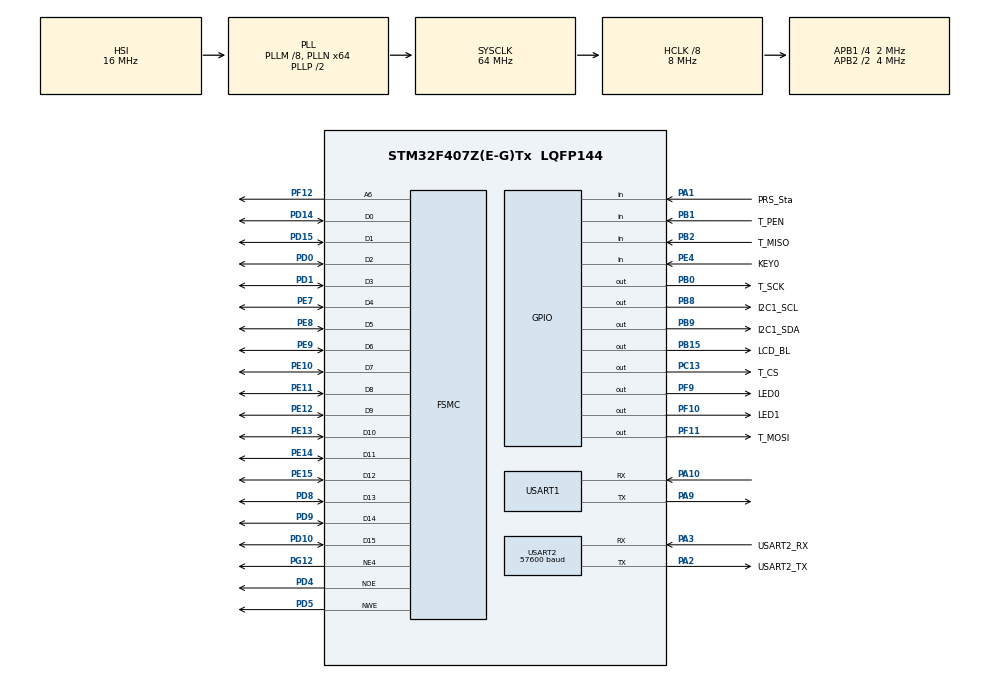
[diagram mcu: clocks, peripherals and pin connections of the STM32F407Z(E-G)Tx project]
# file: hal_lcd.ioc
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FSMC.BusTurnAroundDuration1=0
FSMC.DataSetupTime1=60
FSMC.ExtendedAddressSetupTime1=9
FSMC.ExtendedBusTurnAroundDuration1=0
FSMC.ExtendedDataSetupTime1=8
FSMC.ExtendedMode1=FSMC_EXTENDED_MODE_ENABLE
Mcu.Family=STM32F4
Mcu.Name=STM32F407Z(E-G)Tx
Mcu.Package=LQFP144
NVIC.PriorityGroup=NVIC_PRIORITYGROUP_4
NVIC.TIM6_DAC_IRQn=true\:1\:0\:true\:false\:true\:true\:true
NVIC.USART1_IRQn=true\:0\:0\:false\:false\:true\:true\:true
NVIC.USART2_IRQn=true\:0\:0\:false\:false\:true\:true\:true
PA0-WKUP.Mode=SYS_WakeUp0
PA0-WKUP.Signal=SYS_WKUP
PA1.GPIO_Label=PRS_Sta
PA1.GPIO_PuPd=GPIO_PULLDOWN
PA1.Signal=GPIO_Input
PA10.Mode=Asynchronous
PA10.Signal=USART1_RX
PA13.Mode=Serial_Wire
PA13.Signal=SYS_JTMS-SWDIO
PA14.Mode=Serial_Wire
PA14.Signal=SYS_JTCK-SWCLK
PA2.GPIO_Label=USART2_TX
PA2.Mode=Asynchronous
PA2.Signal=USART2_TX
PA3.GPIO_Label=USART2_RX
PA3.Mode=Asynchronous
PA3.Signal=USART2_RX
PA9.Mode=Asynchronous
PA9.Signal=USART1_TX
PB0.GPIO_Label=T_SCK
PB0.GPIO_Speed=GPIO_SPEED_FREQ_VERY_HIGH
PB0.Signal=GPIO_Output
PB1.GPIO_Label=T_PEN
PB1.GPIO_PuPd=GPIO_PULLUP
PB1.Signal=GPIO_Input
PB15.GPIO_Label=LCD_BL
PB15.GPIO_PuPd=GPIO_PULLUP
PB15.GPIO_Speed=GPIO_SPEED_FREQ_MEDIUM
PB15.PinState=GPIO_PIN_SET
PB15.Signal=GPIO_Output
PB2.GPIO_Label=T_MISO
PB2.GPIO_PuPd=GPIO_PULLUP
PB2.Signal=GPIO_Input
PB8.GPIO_Label=I2C1_SCL
PB8.GPIO_PuPd=GPIO_PULLUP
PB8.GPIO_Speed=GPIO_SPEED_FREQ_HIGH
PB8.Signal=GPIO_Output
PB9.GPIO_Label=I2C1_SDA
PB9.GPIO_PuPd=GPIO_PULLUP
PB9.GPIO_Speed=GPIO_SPEED_FREQ_HIGH
PB9.Signal=GPIO_Output
PC13-ANTI_TAMP.GPIO_Label=T_CS
PC13-ANTI_TAMP.PinState=GPIO_PIN_RESET
PC13-ANTI_TAMP.Signal=GPIO_Output
PC14-OSC32_IN.Mode=LSE-External-Oscillator
PC14-OSC32_IN.Signal=RCC_OSC32_IN
PC15-OSC32_OUT.Mode=LSE-External-Oscillator
PC15-OSC32_OUT.Signal=RCC_OSC32_OUT
PD0.Signal=FSMC_D2_DA2
PD1.Signal=FSMC_D3_DA3
PD10.Signal=FSMC_D15_DA15
PD14.Signal=FSMC_D0_DA0
PD15.Signal=FSMC_D1_DA1
PD4.Signal=FSMC_NOE
PD5.Signal=FSMC_NWE
PD8.Signal=FSMC_D13_DA13
PD9.Signal=FSMC_D14_DA14
PE10.Signal=FSMC_D7_DA7
PE11.Signal=FSMC_D8_DA8
PE12.Signal=FSMC_D9_DA9
PE13.Signal=FSMC_D10_DA10
PE14.Signal=FSMC_D11_DA11
PE15.Signal=FSMC_D12_DA12
PE4.GPIO_Label=KEY0
PE4.GPIO_PuPd=GPIO_PULLDOWN
PE4.Signal=GPIO_Input
PE7.Signal=FSMC_D4_DA4
PE8.Signal=FSMC_D5_DA5
PE9.Signal=FSMC_D6_DA6
PF10.GPIO_Label=LED1
PF10.PinState=GPIO_PIN_SET
PF10.Signal=GPIO_Output
PF11.GPIO_Label=T_MOSI
PF11.GPIO_Speed=GPIO_SPEED_FREQ_VERY_HIGH
PF11.Signal=GPIO_Output
PF12.Signal=FSMC_A6
PF9.GPIO_Label=LED0
PF9.PinState=GPIO_PIN_SET
PF9.Signal=GPIO_Output
PG12.Mode=NorPsramChipSelect4_1
PG12.Signal=FSMC_NE4
PH0-OSC_IN.Mode=HSE-External-Oscillator
PH0-OSC_IN.Signal=RCC_OSC_IN
PH1-OSC_OUT.Mode=HSE-External-Oscillator
PH1-OSC_OUT.Signal=RCC_OSC_OUT
ProjectManager.HeapSize=0x200
ProjectManager.StackSize=0x400
ProjectManager.TargetToolchain=MDK-ARM V5.27
RCC.48MHZClocksFreq_Value=32000000
RCC.AHBCLKDivider=RCC_SYSCLK_DIV8
RCC.AHBFreq_Value=8000000
RCC.APB1CLKDivider=RCC_HCLK_DIV4
RCC.APB1Freq_Value=2000000
RCC.APB1TimFreq_Value=4000000
RCC.APB2CLKDivider=RCC_HCLK_DIV2
RCC.APB2Freq_Value=4000000
RCC.APB2TimFreq_Value=8000000
RCC.CortexFreq_Value=8000000
RCC.HCLKFreq_Value=8000000
RCC.HSE_VALUE=25000000
RCC.HSI_VALUE=16000000
RCC.PLLM=8
RCC.PLLN=64
RCC.SYSCLKFreq_VALUE=64000000
RCC.SYSCLKSource=RCC_SYSCLKSOURCE_PLLCLK
RCC.VCOOutputFreq_Value=128000000
SH.FSMC_A6.0=FSMC_A6,A6_1
SH.FSMC_D0_DA0.0=FSMC_D0,16b-d1
SH.FSMC_D10_DA10.0=FSMC_D10,16b-d1
SH.FSMC_D11_DA11.0=FSMC_D11,16b-d1
SH.FSMC_D12_DA12.0=FSMC_D12,16b-d1
SH.FSMC_D13_DA13.0=FSMC_D13,16b-d1
SH.FSMC_D14_DA14.0=FSMC_D14,16b-d1
SH.FSMC_D15_DA15.0=FSMC_D15,16b-d1
SH.FSMC_D1_DA1.0=FSMC_D1,16b-d1
SH.FSMC_D2_DA2.0=FSMC_D2,16b-d1
SH.FSMC_D3_DA3.0=FSMC_D3,16b-d1
SH.FSMC_D4_DA4.0=FSMC_D4,16b-d1
SH.FSMC_D5_DA5.0=FSMC_D5,16b-d1
SH.FSMC_D6_DA6.0=FSMC_D6,16b-d1
SH.FSMC_D7_DA7.0=FSMC_D7,16b-d1
SH.FSMC_D8_DA8.0=FSMC_D8,16b-d1
SH.FSMC_D9_DA9.0=FSMC_D9,16b-d1
SH.FSMC_NOE.0=FSMC_NOE,Lcd1
SH.FSMC_NWE.0=FSMC_NWE,Lcd1
TIM2.Prescaler=4-1
TIM6.AutoReloadPreload=TIM_AUTORELOAD_PRELOAD_DISABLE
TIM6.Period=1000-1
TIM6.Prescaler=400-1
USART1.VirtualMode=VM_ASYNC
USART2.BaudRate=57600
USART2.VirtualMode=VM_ASYNC
VP_TIM2_VS_ClockSourceINT.Mode=Internal
VP_TIM6_VS_ClockSourceINT.Mode=Enable_Timer
board=custom

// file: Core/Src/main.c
/* USER CODE BEGIN Header */
/**
  ******************************************************************************
  * @file           : main.c
  * @brief          : Main program body
  ******************************************************************************
  * @attention
  *
  * <h2><center>&copy; Copyright (c) 2022 STMicroelectronics.
  * All rights reserved.</center></h2>
  *
  * This software component is licensed by ST under BSD 3-Clause license,
  * the "License"; You may not use this file except in compliance with the
  * License. You may obtain a copy of the License at:
  *                        opensource.org/licenses/BSD-3-Clause
  *
  ******************************************************************************
  */
/* USER CODE END Header */
#include "main.h"
#include "tim.h"
#include "usart.h"
#include "gpio.h"
#include "fsmc.h"

/* USER CODE BEGIN Includes */
#include "lcd.h"
#include "touch.h"
#include <stdio.h>
#include <string.h>
#include "as608.h"
#include "bsp_wakeup.h"

/* USER CODE END Includes */

void SystemClock_Config(void);

/* USER CODE BEGIN 0 */
///----------------------------------------------------------------------------------------///
//重定义fputc函数
#if 1
#pragma import(__use_no_semihosting)

//标准库需要的支持函数
struct __FILE
{
	int handle;
};

FILE __stdout;
//定义_sys_exit()以避免使用半主机模式
void _sys_exit(int x)
{
	x = x;
}
//重定义fputc函数
int fputc(int ch, FILE *f)
{
	while((USART1->SR&0X40)==0);//循环发送,直到发送完毕
	USART1->DR = (uint8_t) ch;
	return ch;
}
#endif
///-----------------------------------------------------------------------------------------///

SysPara AS608Para;//指纹模块AS608参数
uint16_t ValidN;//模块内有效指纹个数
//uint8_t** kbd_tbl;

uint8_t res;
uint8_t states = 0;
uint8_t flag_ID = 0;		//0->密码没有输入成功过， 1->成功输入了一次密码
uint16_t times=0;				//清除flag_ID
uint32_t password=0;
uint32_t tempassword=0;
uint32_t* newpassword;

uint16_t Add_FR(uint16_t ID);	//录指纹
uint16_t press_FR(void);		//刷指纹
void Del_FR(void);	//删除指纹
void ShowErrMessage(uint8_t ensure);//显示确认码错误信息
uint32_t GET_NUM(void);//获取数值
void LCD_Screen_Toggle(void);//LCD页面切换
uint8_t passcheck(void);//检查密码

/* USER CODE END 0 */

int main(void)
{
  /* USER CODE BEGIN 1 */
	uint8_t ensure;
	newpassword = (uint32_t*)0x10002000;
	//*newpassword = 123456;

  /* USER CODE END 1 */

  /* MCU Configuration--------------------------------------------------------*/

  /* Reset of all peripherals, Initializes the Flash interface and the Systick. */
  HAL_Init();

  /* Configure the system clock */
  SystemClock_Config();

  /* Initialize all configured peripherals */
  MX_GPIO_Init();
  MX_FSMC_Init();
  MX_USART1_UART_Init();
  MX_USART2_UART_Init();
  MX_TIM6_Init();
  MX_TIM2_Init();
  /* USER CODE BEGIN 2 */
  printf("Try connecting the module...\n");
  LEDR(0);						//初始化LED
  LEDG(0);

  LCD_Init();					//LCD初始化
  tp_dev.init();				//触摸屏初始化

  //LCD_ShowString(30,60,210,24,24,(uint8_t*)"Explorer STM32F4");
  LCD_keyboard_display();		/*加载指纹识别实验界面*/

  HAL_UART_Transmit(&huart1, (uint8_t *)"Hello LiYi\n", 11, HAL_MAX_DELAY);

  USART2_RX_STA=0;		//清零
  HAL_UART_Receive_IT(&huart2, &res, 1);

  while(PS_HandShake(&AS608Addr))//与AS608模块握手
  {
	  delay_ms(400);
	  LCD_Fill(0,0,lcddev.width,lcddev.height-4*high-2,WHITE);
	  LCD_ShowString(20,40,200,16 ,16, (uint8_t *)"Module not detected!!!");
	  printf("Module not detected!!!\n");
	  delay_ms(800);
	  LCD_Fill(0,0,lcddev.width,lcddev.height-4*high-2,WHITE);
	  LCD_ShowString(20,40,200,32 ,16, (uint8_t *)"Try connecting the module...");
		printf("Try connecting the module...\n");
  }

  LCD_Fill(0,0,lcddev.width,lcddev.height-4*high-2,WHITE);
	LCD_ShowString(20,40,200,32 ,16, (uint8_t *)"Communication is successful!!!");
	printf("Communication is successful!!!\n");
	delay_ms(800);
	printf("波特率:%d   地址:%x",57600, AS608Addr);
	ensure = PS_ValidTempleteNum(&ValidN);//读库指纹个数
	if(ensure!=0x00)
		ShowErrMessage(ensure);			//显示确认码错误信息
	ensure = PS_ReadSysPara(&AS608Para);  //读参数
	delay_ms(800);
	LCD_Fill(0,0,lcddev.width,lcddev.height-4*high-2,WHITE);
	if(ensure==0x00)
	{
		printf("库容量:%d     对比等级: %d\n",AS608Para.PS_max-ValidN,AS608Para.PS_level);
		LCD_ShowString(20,40,200,16 ,16, (uint8_t *)"Library capacity:");
		LCD_ShowNum(160,40,AS608Para.PS_max-ValidN,3,16);
		LCD_ShowString(20,60,200,16 ,16, (uint8_t *)"Comparison level:");
		LCD_ShowNum(160,60,AS608Para.PS_level,3,16);
		LCD_ShowString(20,100,200,48,16, (uint8_t *)"Please click anywhere on the screen to enter the  user interface");
	}
	else
		ShowErrMessage(ensure);

	delay_ms(800);
	times = 0;

  /* USER CODE END 2 */

  /* Infinite loop */
  /* USER CODE BEGIN WHILE */
  while (1)
  {
	  if(PS_Sta)
	  {
		  if(press_FR() != 0xffff)//刷指纹
		  {
			  LCD_ShowString(20,60,200,16 ,16, (uint8_t *)"password is correct");
			  LCD_ShowString(20,80,200,16 ,16, (uint8_t *)"lock is open");
			  flag_ID=1;
		//	  delay_ms(1500);
		  }
	  }

	  if(times>=2000)
	  {
		  LEDR(0);
		  Sys_Enter_Stop();
		  times = 0;
		  flag_ID = 0;
	  }
	  else if(times>=1700)
	  {
		  if(times%50==0)
		  HAL_GPIO_TogglePin(LED0_GPIO_Port, LED0_Pin);
	  }

	  times++;

	  LCD_Screen_Toggle();
	  HAL_Delay(10);

    /* USER CODE END WHILE */

  }
}

void SystemClock_Config(void)
{
  RCC_OscInitTypeDef RCC_OscInitStruct = {0};
  RCC_ClkInitTypeDef RCC_ClkInitStruct = {0};

  /** Configure the main internal regulator output voltage
  */
  __HAL_RCC_PWR_CLK_ENABLE();
  __HAL_PWR_VOLTAGESCALING_CONFIG(PWR_REGULATOR_VOLTAGE_SCALE1);
  /** Initializes the RCC Oscillators according to the specified parameters
  * in the RCC_OscInitTypeDef structure.
  */
  RCC_OscInitStruct.OscillatorType = RCC_OSCILLATORTYPE_HSI;
  RCC_OscInitStruct.HSIState = RCC_HSI_ON;
  RCC_OscInitStruct.HSICalibrationValue = RCC_HSICALIBRATION_DEFAULT;
  RCC_OscInitStruct.PLL.PLLState = RCC_PLL_ON;
  RCC_OscInitStruct.PLL.PLLSource = RCC_PLLSOURCE_HSI;
  RCC_OscInitStruct.PLL.PLLM = 8;
  RCC_OscInitStruct.PLL.PLLN = 64;
  RCC_OscInitStruct.PLL.PLLP = RCC_PLLP_DIV2;
  RCC_OscInitStruct.PLL.PLLQ = 4;
  if (HAL_RCC_OscConfig(&RCC_OscInitStruct) != HAL_OK)
  {
    Error_Handler();
  }
  /** Initializes the CPU, AHB and APB buses clocks
  */
  RCC_ClkInitStruct.ClockType = RCC_CLOCKTYPE_HCLK|RCC_CLOCKTYPE_SYSCLK
                              |RCC_CLOCKTYPE_PCLK1|RCC_CLOCKTYPE_PCLK2;
  RCC_ClkInitStruct.SYSCLKSource = RCC_SYSCLKSOURCE_PLLCLK;
  RCC_ClkInitStruct.AHBCLKDivider = RCC_SYSCLK_DIV8;
  RCC_ClkInitStruct.APB1CLKDivider = RCC_HCLK_DIV4;
  RCC_ClkInitStruct.APB2CLKDivider = RCC_HCLK_DIV2;

  if (HAL_RCC_ClockConfig(&RCC_ClkInitStruct, FLASH_LATENCY_0) != HAL_OK)
  {
    Error_Handler();
  }
}

/* USER CODE BEGIN 4 */

void LCD_Screen_Toggle(void)
{
	uint8_t key = 0xff;
	uint16_t ID;
	static uint8_t change_times = 0;

	key = keyboard_scan();
	if(key != 0xff)
	{
		times = times/2;

		if(flag_ID==1)
		{
			states =1;
		}
		else
			states = 0;
		if(states == 1)
		{
			if(key == '1')
				states = 2;
			else if(key == '2')
				states = 3;
			else if(key == '3')
				states = 4;
			else if(key == '4')
				states = 5;
			else if(key == 'b')
			{
				if(flag_ID==0)
					states = 0;
				else
					states =1;
			}
		}
		switch(states)
		{
			case 0:
				LCD_Fill(0,0,lcddev.width,lcddev.height-4*high-2,WHITE);
				LCD_ShowString(75,10,200,24 ,24, (uint8_t *)"Welcome");
				LCD_ShowString(10,40,220,50 ,16, (uint8_t *)"Please press the fingerprint firmly on the window");
				LCD_ShowString(10,80,220,50 ,16, (uint8_t *)"or enter password to unlock");
				delay_ms(2000);
				if(PS_Sta)	 //检测PS_Sta状态，如果有手指按下
				{
					if(press_FR() != 0xffff)//刷指纹
					{
						flag_ID=1;
						states = 1;
					}
					else
					{
						flag_ID=0;
						break;
					}
				}
				else
				{
					password=GET_NUM();
					if(password != 0xffffffff)
					{
						if(password == *newpassword)
						{
							LCD_ShowString(20,60,200,16 ,16, (uint8_t *)"password is correct");
							LCD_ShowString(20,80,200,16 ,16, (uint8_t *)"lock is open");
							flag_ID=1;
							states = 1;
						}
						else
						{
							LCD_ShowString(20,60,220,16 ,16, (uint8_t *)"password is error");
							LCD_ShowString(20,80,220,16 ,16, (uint8_t *)"please try again");
							LCD_ShowString(20,120,220,16 ,16, (uint8_t *)"press any key to continue");
							flag_ID=0;
							break;
						}
					}
					else
					{
						LCD_ShowString(20,120,220,16 ,16, (uint8_t *)"press any key to continue");
						break;
					}
				}

			case 1:					//Menu
				LCD_Fill(0,0,lcddev.width,lcddev.height-4*high-2,WHITE);
				LCD_ShowString(40,20,200,16 ,16, (uint8_t *)"1.Add fingerprint");
				LCD_ShowString(40,40,200,16 ,16, (uint8_t *)"2.Del fingerprints");
				LCD_ShowString(40,60,200,16 ,16, (uint8_t *)"3.Search fingerprints");
				LCD_ShowString(40,80,200,16 ,16, (uint8_t *)"4.change the password");
				LCD_ShowString(10,125,220,50 ,16, (uint8_t *)"Please press the number key to get the corresponding function");
				break;
			case 2:					//Add fingerprint
				if(passcheck()==0)
				{
					LCD_ShowString(10,125,220,50 ,16, (uint8_t *)"Please press the 'Back' key to return last step");
					break;
				}
			a:	LCD_Fill(0,0,lcddev.width,lcddev.height-4*high-2,WHITE);
			    LCD_ShowString(20,50,200,32 ,16, (uint8_t *)"Please enter your fingerprint ID");
				LCD_ShowString(30,120,220, 32,16, (uint8_t *)"0 <= ID < 300");
				ID = GET_NUM();
				if(ID >= 300)
				{
					LCD_Fill(0,0,lcddev.width,lcddev.height-4*high-2,WHITE);
					LCD_ShowString(20,120,200,16 ,16, (uint8_t *)"invalid ID");
					delay_ms(1000);
					goto a;
				}
				else
				{
					LCD_Fill(0,0,lcddev.width,lcddev.height-4*high-2,WHITE);
					LCD_ShowString(20,60,200,16 ,16, (uint8_t *)"ID successfully");
					LCD_ShowString(20,90,200,16 ,16, (uint8_t *)"ID = ");
					LCD_ShowNum(100,120,ID,16,16);
					//LCD_ShowString(10,120,200,16 ,16, (uint8_t *)"Please press the fingerprint firmly on the window");
					if(Add_FR(ID)!=0xffff)
					{
						LCD_Fill(0,0,lcddev.width,lcddev.height-4*high-2,WHITE);
						LCD_ShowString(20,40,200,48,24, (uint8_t *)"Please press the back button");
					}
				}
				break;
			case 3:					//Delect fingerprint
				if(passcheck())
				{
					LCD_Fill(0,0,lcddev.width,lcddev.height-4*high-2,WHITE);
					Del_FR();
				}
				break;

			case 4:					//Search fingerprint
				LCD_Fill(0,0,lcddev.width,lcddev.height-4*high-2,WHITE);
				press_FR();
				LCD_ShowString(20,40,200,48,24, (uint8_t *)"Please press the back button");
				break;
			case 5:					//更改密码

				LCD_Fill(0,0,lcddev.width,lcddev.height-4*high-2,WHITE);
				LCD_ShowString(10,60,220,32 ,16, (uint8_t *)"please input your old password");
				delay_ms(1000);
				if(passcheck())
				{
					LCD_ShowString(10,60,220,32 ,16, (uint8_t *)"please input your new password");
					password = GET_NUM();
					if(*newpassword != password)
					{
						tempassword = password;
						LCD_Fill(0,0,lcddev.width,lcddev.height-4*high-2,WHITE);
						LCD_ShowString(10,60,220,32 ,16, (uint8_t *)"please confirm your new password");
						password = GET_NUM();
						if(tempassword == password)
						{
							LCD_ShowString(10,100,220,32 ,16, (uint8_t *)"password changed successfully");
							delay_ms(1000);
							*newpassword = tempassword;
						}
						else
						{
							LCD_ShowString(10,100,220,32 ,16, (uint8_t *)"The passwords entered twice do not match");
							delay_ms(1000);
						}
					}
					else
					{
						LCD_ShowString(10,100,220,32 ,16, (uint8_t *)"New password is same as the old password");
						delay_ms(1000);
					}
				}

				LCD_Fill(0,0,lcddev.width,lcddev.height-4*high-2,WHITE);
				LCD_ShowString(20,40,200,48,24, (uint8_t *)"Please press the back button");
				break;
		}
	}
}

//检查密码 0：密码错误    1：正确
uint8_t passcheck(void)
{
	LCD_Fill(0,0,lcddev.width,lcddev.height-4*high-2,WHITE);
	LCD_ShowString(10,60,220,32 ,16, (uint8_t *)"please input your password");
	password = GET_NUM();
	if(*newpassword != password)
	{
		LCD_Fill(0,0,lcddev.width,lcddev.height-4*high-2,WHITE);
		LCD_ShowString(10,60,220,32 ,16, (uint8_t *)"password is error");
		delay_ms(1000);
		return 0;
	}
	else
		return 1;
}

//获取键盘数值  长时间没有键按下自动退出，返回0xffffffff
uint32_t GET_NUM(void)
{
	int x=0;
	uint8_t value;
	uint8_t pstr[9]={"\0"};
	uint8_t newpstr[9]="123456";
	//uint8_t blank[9]={"        "};
	uint8_t p=0;
	uint32_t num = 0xffffffff;

	times = 0;

	LCD_Fill(1*wide,320-5*high, 1*wide+12*8-1, 320-5*high+23, CYAN);

	while(1)
	{
	  value = keyboard_scan();
	  if(value != 0xff)
	  {
		  x = x/2;
		  if(value >= '0' && value <= '9')
		  {
			  pstr[p++] = value;
			  if(p>=9)
			  {
				  p = p%9;
				  pstr[0]='\0';
			  }
			  else
				  pstr[p]='\0';
		  }
		  else if(value == '<' && p != 0)
		  {
			  p--;
			  pstr[p] = '\0';
		  }
		  else if(value == 'e' && pstr[0]!='\0')
		  {
			  strcpy(newpstr, pstr);
			  printf("newpass :%s\n", newpstr);
			  num = (uint32_t)atoi(newpstr);
			  LCD_ShowString(1*wide+12*8-1,320-5*high, 210, 24, 24,(uint8_t*)"Entered");
			  delay_ms(1000);
			  break;
		  }

		  LCD_Fill(1*wide,320-5*high, 1*wide+12*8-1, 320-5*high+23, CYAN);
		  LCD_ShowString(1*wide,320-5*high, 210, 24, 24, pstr);
		  printf("%c\n", value);
		  printf("string :%s\n", pstr);
	  }
	  x=x+1;
	  if(x>=800000)
		  break;
	}
	LCD_Fill(0,0, lcddev.width, 320-4*high-2, WHITE);
	  return num;
}

//显示确认码错误信息
void ShowErrMessage(uint8_t ensure)
{
	LCD_Fill(0,120,lcddev.width,160,WHITE);
	LCD_ShowString(60,12,200,100 ,24, (uint8_t *)"Error:");
	LCD_ShowNum(135, 12, ensure, 2, 24);
	POINT_COLOR = RED;
	LCD_ShowString(10,60,220,70,16, (uint8_t*)EnsureMessage(ensure));
	POINT_COLOR = BLACK;
	delay_ms(2000);
	LCD_Fill(0,120,lcddev.width,160,WHITE);
	//LCD_ShowString(20,40,200,48,24, (uint8_t *)"Please press the back button");
	printf("%x:%s\n",ensure, EnsureMessage(ensure));
	//Show_Str_Mid(0,120,(uint8_t*)EnsureMessage(ensure),16,240);
}
//录指纹  成功：返回ID   失败：返回0xffff
uint16_t Add_FR(uint16_t ID)
{
	uint8_t i = 0,ensure = 0,processnum=0;

	while(1)
	{
		switch(processnum)
		{
			case 0:
				i++;
				LCD_Fill(0,0,lcddev.width,lcddev.height-4*high-2,WHITE);
				LCD_ShowString(20,40,200,16 ,16, (uint8_t *)"Please press finger");
				ensure=PS_GetImage();
				if(ensure==0x00)
				{
					//BEEP=1;
					LEDG(1);
					ensure=PS_GenChar(CharBuffer1);//生成特征
					LEDG(0);
					//BEEP=0;
					if(ensure==0x00)
					{
						LCD_Fill(0,0,lcddev.width,lcddev.height-4*high-2,WHITE);
						LCD_ShowString(20,40,200,16 ,16, (uint8_t *)"Fingerprint is OK");
						//Show_Str_Mid(0,120,"指纹正常",16,240);
						i=0;
						processnum=1;//跳到第二步
					}
					else
						ShowErrMessage(ensure);
				}
				else
					ShowErrMessage(ensure);
				break;

			case 1:
				i++;
				LCD_Fill(0,0,lcddev.width,lcddev.height-4*high-2,WHITE);
				LCD_ShowString(20,40,200,32,16, (uint8_t *)"Please press finger again");
				//Show_Str_Mid(0,100,"请按再按一次指纹",16,240);
				ensure=PS_GetImage();
				if(ensure==0x00)
				{
					//BEEP=1;
					LEDG(1);
					ensure=PS_GenChar(CharBuffer2);//生成特征
					LEDG(0);
					//BEEP=0;
					if(ensure==0x00)
					{
						LCD_Fill(0,0,lcddev.width,lcddev.height-4*high-2,WHITE);
						LCD_ShowString(20,40,200,16 ,16, (uint8_t *)"Fingerprint is OK");
						i=0;
						processnum=2;//跳到第三步
					}
					else
						ShowErrMessage(ensure);
				}
				else
					ShowErrMessage(ensure);
				break;

			case 2:
				LCD_Fill(0,0,lcddev.width,lcddev.height-4*high-2,WHITE);
				LCD_ShowString(20,40,200,32,16, (uint8_t *)"Compare two fingerprints");
				//Show_Str_Mid(0,100,"对比两次指纹",16,240);
				ensure=PS_Match();
				if(ensure==0x00)
				{
					LCD_Fill(0,0,lcddev.width,lcddev.height-4*high-2,WHITE);
					LCD_ShowString(20,40,200,32,16, (uint8_t *)"Fingerprint comparison is successful");
					//Show_Str_Mid(0,120,"对比成功,两次指纹一样",16,240);
					processnum=3;//跳到第四步
				}
				else
				{
					LCD_Fill(0,0,lcddev.width,lcddev.height-4*high-2,WHITE);
					LCD_ShowString(20,40,200,50,16, (uint8_t *)"The comparison failed, please reenter your fingerprints");
					//Show_Str_Mid(0,100,"对比失败，请重新录入指纹",16,240);
					ShowErrMessage(ensure);
					i=0;
					processnum=0;//跳回第一步
				}
				delay_ms(1200);
				break;

			case 3:
				LCD_Fill(0,0,lcddev.width,lcddev.height-4*high-2,WHITE);
				//Show_Str_Mid(0,100,"生成指纹模板",16,240);
				LCD_ShowString(20,40,200,32,16, (uint8_t *)"Generate fingerprint template");
				ensure=PS_RegModel();
				if(ensure==0x00)
				{
					LCD_Fill(0,0,lcddev.width,lcddev.height-4*high-2,WHITE);
					//Show_Str_Mid(0,120,"生成指纹模板成功",16,240);
					LCD_ShowString(20,40,200,32,16, (uint8_t *)"Generate fingerprint template successfully");
					processnum=4;//跳到第五步
				}
				else
				{
					LCD_Fill(0,0,lcddev.width,lcddev.height-4*high-2,WHITE);
					processnum=0;
					ShowErrMessage(ensure);
				}
				delay_ms(1200);
				break;

			case 4:
				LCD_Fill(0,0,lcddev.width,lcddev.height-4*high-2,WHITE);
				ensure=PS_StoreChar(CharBuffer2,ID);//储存模板
				if(ensure==0x00)
				{
					LCD_Fill(0,0,lcddev.width,lcddev.height-4*high-2,WHITE);
					//Show_Str_Mid(0,120,"录入指纹成功",16,240);
					LCD_ShowString(20,40,200,32,16, (uint8_t *)"Fingerprint entered successfully");
					PS_ValidTempleteNum(&ValidN);//读库指纹个数

					LCD_ShowString(20,70,200,16 ,16, (uint8_t *)"Comparison level:");
					LCD_ShowNum(160,70,AS608Para.PS_level,3,16);
					delay_ms(1500);
					LCD_Fill(0,0,lcddev.width,lcddev.height-4*high-2,WHITE);
					return ID;
				}
				else
				{
					processnum=0;
					ShowErrMessage(ensure);
				}
				break;
		}
		delay_ms(400);
		if(i==5)//超过5次没有按手指则退出
		{
			LCD_Fill(0,0,lcddev.width,lcddev.height-4*high-2,WHITE);
			break;
		}
	}
	return 0xffff;
}

//刷指纹		找到指纹：返回ID		没有找到：返回0xffff
uint16_t press_FR(void)
{
	SearchResult search;
	uint8_t ensure;
	char *str;
	uint16_t ID=0xffff;

	LCD_Fill(0,0,lcddev.width,lcddev.height-4*high-2,WHITE);
	LCD_ShowString(20,40,200,32,16, (uint8_t *)"Please press your finger!");
	delay_ms(500);
	LEDG(1);
	delay_ms(500);
	LEDG(0);

	LCD_Fill(0,0,lcddev.width,lcddev.height-4*high-2,WHITE);

	delay_ms(100);
	ensure=PS_GetImage();

	if(ensure==0x00)//获取图像成功
	{
		//BEEP=1;//打开蜂鸣器
		LEDG(1);
		ensure=PS_GenChar(CharBuffer1);
		if(ensure==0x00) //生成特征成功
		{
			//BEEP=0;//关闭蜂鸣器
			LEDG(0);
			ensure=PS_HighSpeedSearch(CharBuffer1,0,AS608Para.PS_max,&search);
			if(ensure==0x00)//搜索成功
			{
				LCD_Fill(0,0,lcddev.width,lcddev.height-4*high-2,WHITE);
				//Show_Str_Mid(0,100,"刷指纹成功",16,240);
				LCD_ShowString(20,40,200,32,16, (uint8_t *)"Fingerprint identification succeeded");

				//str=mymalloc(SRAMIN,2000);
				//sprintf(str,"确有此人,ID:%d  匹配得分:%d",search.pageID,search.mathscore);
				//Show_Str_Mid(0,140,(uint8_t*)str,16,240);
				printf("确有此人,ID:%d  匹配得分:%d",search.pageID,search.mathscore);
				LCD_ShowString(20,70,200,16,16, (uint8_t *)"Find the fingerprint");
				LCD_ShowString(20,90,24,16,16, (uint8_t *)"ID=");
				ID = search.pageID;
				LCD_ShowNum(45,90,ID,3,16);
				LCD_ShowString(20,120,48,16,16, (uint8_t *)"Score=");
				LCD_ShowNum(70,120,search.mathscore,3,16);
			}
			else
				ShowErrMessage(ensure);
		}
		else
			ShowErrMessage(ensure);
	    //BEEP=0;//关闭蜂鸣器
		LEDG(0);
	   delay_ms(3000);
	   LCD_Fill(0,0,lcddev.width,lcddev.height-4*high-2,WHITE);
	}
	else
	{
		ShowErrMessage(ensure);
		delay_ms(2000);
		LCD_Fill(0,0,lcddev.width,lcddev.height-4*high-2,WHITE);
	}
	LCD_Fill(0,0,lcddev.width,lcddev.height-4*high-2,WHITE);

	return ID;
}

//删除指纹
void Del_FR(void)
{
	uint8_t flag_count=0;
	uint8_t  ensure;
	uint32_t num;
	LCD_Fill(0,0,lcddev.width,lcddev.height-4*high-2,WHITE);
	//Show_Str_Mid(0,100,"删除指纹",16,240);
	//Show_Str_Mid(0,120,"请输入指纹ID按Enter发送",16,240);
	//Show_Str_Mid(0,140,"0=< ID <=299",16,240);
	LCD_ShowString(20,20,200,16 ,16, (uint8_t *)"Delete fingerprint");
	LCD_ShowString(10,50,220,32 ,16, (uint8_t *)"Please enter your fingerprint ID and press Enter to send");
	LCD_ShowString(60,90,112,16 ,16, (uint8_t *)"0 =< ID <= 299");

	POINT_COLOR = RED;
	LCD_ShowString(10,110,220,32,16, (uint8_t *)"If the input ID = 11110000, All Fingerprints Will Be Deleted!!!");
	POINT_COLOR = BLACK;

	delay_ms(1000);

	//AS608_load_keyboard(0,170,(uint8_t**)kbd_delFR);

	num=GET_NUM();//获取返回的数值
	if(num==0xFFFFFFFF)
		goto MENU ; //返回主页面
	else if(num==11110000)
		ensure=PS_Empty();//清空指纹库
	else if(num>=300)
	{
		LCD_Fill(0,0,lcddev.width,lcddev.height-4*high-2,WHITE);
		LCD_ShowString(20,40,200,32,16, (uint8_t *)"ID number too large");
		goto MENU ; //返回主页面
	}
	else
		ensure=PS_DeletChar(num,1);//删除单个指纹
	if(ensure==0)
	{
		LCD_Fill(0,0,lcddev.width,lcddev.height-4*high-2,WHITE);
		LCD_ShowString(20,40,200,32,16, (uint8_t *)"Delete fingerprint successfully");
	//	Show_Str_Mid(0,140,"删除指纹成功",16,240);
	}
    else
		ShowErrMessage(ensure);

	delay_ms(1200);
	PS_ValidTempleteNum(&ValidN);//读库指纹个数
	LCD_ShowString(10,80,220,32,16, (uint8_t *)"The number of existing fingerprints in the library is ");
	LCD_ShowNum(100,120,AS608Para.PS_max-ValidN,3,16);
	delay_ms(1200);
MENU:
	LCD_Fill(0,0,lcddev.width,lcddev.height-4*high-2,WHITE);
	delay_ms(50);
	//AS608_load_keyboard(0,170,(uint8_t**)kbd_menu);
	LCD_Fill(0,0,lcddev.width,lcddev.height-4*high-2,WHITE);
	LCD_ShowString(20,40,200,48,24, (uint8_t *)"Please press the back button");
}

/* USER CODE END 4 */

void Error_Handler(void)
{
  __disable_irq();
  while (1)
  {
  }
}

/************************ (C) COPYRIGHT STMicroelectronics *****END OF FILE****/
